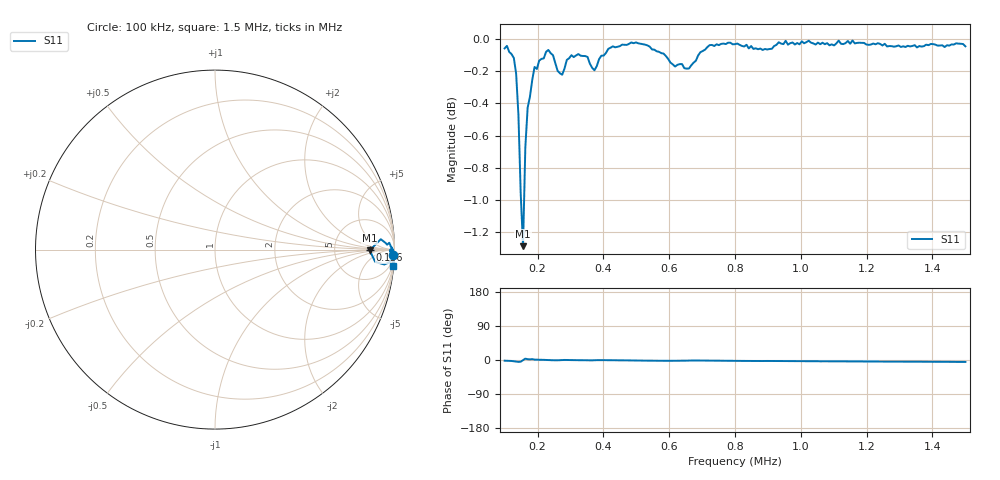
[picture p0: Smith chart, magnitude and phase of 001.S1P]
!Agilent Technologies,E5071C,MY46100305,A.07.02
!Date: Fri Jan 01 02:20:04 1988
!Data & Calibration Information:
!Freq	S11:SOLT1(ON)
# Hz S MA R 50
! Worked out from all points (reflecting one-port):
!   201 points, 100 kHz to 1.5 MHz, reference 50 ohm
!   lowest |S11| = -1.3 dB at 156 kHz (marker M1), VSWR 13.50, Z = 674 - j21.4 ohm
!   phase of S11 starts at -2 deg and turns -3 deg over the sweep
!   S11 on the Smith chart (normalised r, x): 100 kHz: 12, -60; 156 kHz: 13, -0; 1.5 MHz: 1, -22
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100000  0.9935 -1.8
128000  0.9867 -3.2
135000  0.9757 -4.1
142000  0.9471 -5.0
149000  0.8948 -4.4
156000  0.8621 -0.3
163000  0.9256 3.6
170000  0.9521 2.2
177000  0.9597 1.6
184000  0.9713 2.3
191000  0.9803 1.0
233000  0.9923 -0.3
254000  0.9832 -0.8
275000  0.9749 -0.1
303000  0.9886 -0.2
352000  0.9874 -0.9
373000  0.978 -0.5
415000  0.9931 -0.5
450000  0.995 -0.8
555000  0.9926 -2.0
625000  0.9818 -1.9
681000  0.9847 -1.3
723000  0.9958 -1.6
800000  0.9965 -2.3
975000  0.9976 -2.9
1150000  0.9968 -3.7
1325000  0.9953 -4.4
1500000  0.9949 -5.1
